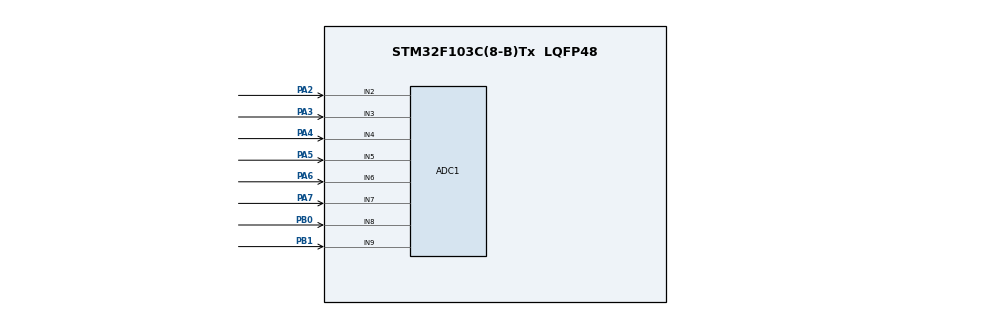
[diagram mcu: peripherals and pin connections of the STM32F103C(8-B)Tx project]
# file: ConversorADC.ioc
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ADC1.Channel-0\#ChannelRegularConversion=ADC_CHANNEL_2
ADC1.ContinuousConvMode=ENABLE
ADC1.NbrOfConversionFlag=1
ADC1.Rank-0\#ChannelRegularConversion=1
ADC1.SamplingTime-0\#ChannelRegularConversion=ADC_SAMPLETIME_1CYCLE_5
ADC1.master=1
Mcu.Family=STM32F1
Mcu.Name=STM32F103C(8-B)Tx
Mcu.Package=LQFP48
NVIC.PriorityGroup=NVIC_PRIORITYGROUP_4
PA13.Mode=Serial_Wire
PA13.Signal=SYS_JTMS-SWDIO
PA14.Mode=Serial_Wire
PA14.Signal=SYS_JTCK-SWCLK
PA2.Signal=ADCx_IN2
PA3.Signal=ADCx_IN3
PA4.Signal=ADCx_IN4
PA5.Signal=ADCx_IN5
PA6.Signal=ADCx_IN6
PA7.Signal=ADCx_IN7
PB0.Signal=ADCx_IN8
PB1.Signal=ADCx_IN9
ProjectManager.HeapSize=0x200
ProjectManager.StackSize=0x400
ProjectManager.TargetToolchain=STM32CubeIDE
RCC.APB1Freq_Value=8000000
RCC.APB2Freq_Value=8000000
SH.ADCx_IN2.0=ADC1_IN2,IN2
SH.ADCx_IN3.0=ADC1_IN3,IN3
SH.ADCx_IN4.0=ADC1_IN4,IN4
SH.ADCx_IN5.0=ADC1_IN5,IN5
SH.ADCx_IN6.0=ADC1_IN6,IN6
SH.ADCx_IN7.0=ADC1_IN7,IN7
SH.ADCx_IN8.0=ADC1_IN8,IN8
SH.ADCx_IN9.0=ADC1_IN9,IN9
TIM2.Prescaler=127
VP_TIM2_VS_ClockSourceINT.Mode=Internal
board=custom

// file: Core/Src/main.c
/* USER CODE BEGIN Header */
/**
  ******************************************************************************
  * @file           : main.c
  * @brief          : Main program body
  ******************************************************************************
  * @attention
  *
  * Copyright (c) 2023 STMicroelectronics.
  * All rights reserved.
  *
  * This software is licensed under terms that can be found in the LICENSE file
  * in the root directory of this software component.
  * If no LICENSE file comes with this software, it is provided AS-IS.
  *
  ******************************************************************************
  */
/* USER CODE END Header */
#include "main.h"

ADC_HandleTypeDef hadc1;

TIM_HandleTypeDef htim2;

/* USER CODE BEGIN PV */
uint16_t readValue1;
uint16_t readValue2;
uint16_t readValue3;
uint16_t readValue4;
uint16_t readValue5;
uint16_t readValue6;
uint16_t readValue7;
uint16_t readValue8;
ADC_ChannelConfTypeDef sConfigPrivate = {0};
/* USER CODE END PV */

void SystemClock_Config(void);
static void MX_GPIO_Init(void);
static void MX_ADC1_Init(void);
static void MX_TIM2_Init(void);

int main(void)
{

  /* MCU Configuration--------------------------------------------------------*/

  /* Reset of all peripherals, Initializes the Flash interface and the Systick. */
  HAL_Init();

  /* Configure the system clock */
  SystemClock_Config();

  /* Initialize all configured peripherals */
  MX_GPIO_Init();
  MX_ADC1_Init();
  MX_TIM2_Init();

  /* Infinite loop */
  /* USER CODE BEGIN WHILE */
  while (1)
  {
	  sConfigPrivate.Rank = ADC_REGULAR_RANK_1;
	  	  sConfigPrivate.SamplingTime = ADC_SAMPLETIME_1CYCLE_5;

	  	  sConfigPrivate.Channel = ADC_CHANNEL_9;
	  	  HAL_ADC_ConfigChannel(&hadc1, &sConfigPrivate);
	  	  HAL_ADC_Start(&hadc1);
	  	  HAL_ADC_PollForConversion(&hadc1,1000);
	  	  HAL_ADC_Stop(&hadc1);
	  	  readValue1 = HAL_ADC_GetValue(&hadc1);

	  	  sConfigPrivate.Channel = ADC_CHANNEL_8;
	  	  HAL_ADC_ConfigChannel(&hadc1, &sConfigPrivate);
	  	  HAL_ADC_Start(&hadc1);
	  	  HAL_ADC_PollForConversion(&hadc1,1000);
	  	  HAL_ADC_Stop(&hadc1);
	  	  readValue2 = HAL_ADC_GetValue(&hadc1);

	  	  sConfigPrivate.Channel = ADC_CHANNEL_7;
	  	  HAL_ADC_ConfigChannel(&hadc1, &sConfigPrivate);
	  	  HAL_ADC_Start(&hadc1);
	  	  HAL_ADC_PollForConversion(&hadc1,1000);
	  	  HAL_ADC_Stop(&hadc1);
	  	  readValue3 = HAL_ADC_GetValue(&hadc1);

	  	  sConfigPrivate.Channel = ADC_CHANNEL_6;
	  	  HAL_ADC_ConfigChannel(&hadc1, &sConfigPrivate);
	  	  HAL_ADC_Start(&hadc1);
	  	  HAL_ADC_PollForConversion(&hadc1,1000);
	  	  HAL_ADC_Stop(&hadc1);
	  	  readValue4 = HAL_ADC_GetValue(&hadc1);

	  	sConfigPrivate.Channel = ADC_CHANNEL_5;
	  	  HAL_ADC_ConfigChannel(&hadc1, &sConfigPrivate);
	  	  HAL_ADC_Start(&hadc1);
	  	  HAL_ADC_PollForConversion(&hadc1,1000);
	  	  HAL_ADC_Stop(&hadc1);
	  	  readValue5 = HAL_ADC_GetValue(&hadc1);

	    sConfigPrivate.Channel = ADC_CHANNEL_4;
	  	  HAL_ADC_ConfigChannel(&hadc1, &sConfigPrivate);
	  	  HAL_ADC_Start(&hadc1);
	  	  HAL_ADC_PollForConversion(&hadc1,1000);
	      HAL_ADC_Stop(&hadc1);
	  	  readValue6 = HAL_ADC_GetValue(&hadc1);

	    sConfigPrivate.Channel = ADC_CHANNEL_3;
	  	  HAL_ADC_ConfigChannel(&hadc1, &sConfigPrivate);
	  	  HAL_ADC_Start(&hadc1);
	  	  HAL_ADC_PollForConversion(&hadc1,1000);
	  	  HAL_ADC_Stop(&hadc1);
	  	  readValue7 = HAL_ADC_GetValue(&hadc1);

	    sConfigPrivate.Channel = ADC_CHANNEL_2;
	  	  HAL_ADC_ConfigChannel(&hadc1, &sConfigPrivate);
	  	  HAL_ADC_Start(&hadc1);
	  	  HAL_ADC_PollForConversion(&hadc1,1000);
	      HAL_ADC_Stop(&hadc1);
	      readValue8 = HAL_ADC_GetValue(&hadc1);
	  /* USER CODE END WHILE */

  }
}

void SystemClock_Config(void)
{
  RCC_OscInitTypeDef RCC_OscInitStruct = {0};
  RCC_ClkInitTypeDef RCC_ClkInitStruct = {0};
  RCC_PeriphCLKInitTypeDef PeriphClkInit = {0};

  /** Initializes the RCC Oscillators according to the specified parameters
  * in the RCC_OscInitTypeDef structure.
  */
  RCC_OscInitStruct.OscillatorType = RCC_OSCILLATORTYPE_HSI;
  RCC_OscInitStruct.HSIState = RCC_HSI_ON;
  RCC_OscInitStruct.HSICalibrationValue = RCC_HSICALIBRATION_DEFAULT;
  RCC_OscInitStruct.PLL.PLLState = RCC_PLL_NONE;
  if (HAL_RCC_OscConfig(&RCC_OscInitStruct) != HAL_OK)
  {
    Error_Handler();
  }

  /** Initializes the CPU, AHB and APB buses clocks
  */
  RCC_ClkInitStruct.ClockType = RCC_CLOCKTYPE_HCLK|RCC_CLOCKTYPE_SYSCLK
                              |RCC_CLOCKTYPE_PCLK1|RCC_CLOCKTYPE_PCLK2;
  RCC_ClkInitStruct.SYSCLKSource = RCC_SYSCLKSOURCE_HSI;
  RCC_ClkInitStruct.AHBCLKDivider = RCC_SYSCLK_DIV1;
  RCC_ClkInitStruct.APB1CLKDivider = RCC_HCLK_DIV1;
  RCC_ClkInitStruct.APB2CLKDivider = RCC_HCLK_DIV1;

  if (HAL_RCC_ClockConfig(&RCC_ClkInitStruct, FLASH_LATENCY_0) != HAL_OK)
  {
    Error_Handler();
  }
  PeriphClkInit.PeriphClockSelection = RCC_PERIPHCLK_ADC;
  PeriphClkInit.AdcClockSelection = RCC_ADCPCLK2_DIV2;
  if (HAL_RCCEx_PeriphCLKConfig(&PeriphClkInit) != HAL_OK)
  {
    Error_Handler();
  }
}

static void MX_ADC1_Init(void)
{

  ADC_ChannelConfTypeDef sConfig = {0};

  /** Common config
  */
  hadc1.Instance = ADC1;
  hadc1.Init.ScanConvMode = ADC_SCAN_DISABLE;
  hadc1.Init.ContinuousConvMode = ENABLE;
  hadc1.Init.DiscontinuousConvMode = DISABLE;
  hadc1.Init.ExternalTrigConv = ADC_SOFTWARE_START;
  hadc1.Init.DataAlign = ADC_DATAALIGN_RIGHT;
  hadc1.Init.NbrOfConversion = 1;
  if (HAL_ADC_Init(&hadc1) != HAL_OK)
  {
    Error_Handler();
  }

  /** Configure Regular Channel
  */
  sConfig.Channel = ADC_CHANNEL_2;
  sConfig.Rank = ADC_REGULAR_RANK_1;
  sConfig.SamplingTime = ADC_SAMPLETIME_1CYCLE_5;
  if (HAL_ADC_ConfigChannel(&hadc1, &sConfig) != HAL_OK)
  {
    Error_Handler();
  }

}

static void MX_TIM2_Init(void)
{

  TIM_ClockConfigTypeDef sClockSourceConfig = {0};
  TIM_MasterConfigTypeDef sMasterConfig = {0};

  htim2.Instance = TIM2;
  htim2.Init.Prescaler = 127;
  htim2.Init.CounterMode = TIM_COUNTERMODE_UP;
  htim2.Init.Period = 65535;
  htim2.Init.ClockDivision = TIM_CLOCKDIVISION_DIV1;
  htim2.Init.AutoReloadPreload = TIM_AUTORELOAD_PRELOAD_DISABLE;
  if (HAL_TIM_Base_Init(&htim2) != HAL_OK)
  {
    Error_Handler();
  }
  sClockSourceConfig.ClockSource = TIM_CLOCKSOURCE_INTERNAL;
  if (HAL_TIM_ConfigClockSource(&htim2, &sClockSourceConfig) != HAL_OK)
  {
    Error_Handler();
  }
  sMasterConfig.MasterOutputTrigger = TIM_TRGO_RESET;
  sMasterConfig.MasterSlaveMode = TIM_MASTERSLAVEMODE_DISABLE;
  if (HAL_TIMEx_MasterConfigSynchronization(&htim2, &sMasterConfig) != HAL_OK)
  {
    Error_Handler();
  }

}

static void MX_GPIO_Init(void)
{

  /* GPIO Ports Clock Enable */
  __HAL_RCC_GPIOA_CLK_ENABLE();
  __HAL_RCC_GPIOB_CLK_ENABLE();

}

void Error_Handler(void)
{
  __disable_irq();
  while (1)
  {
  }
}
